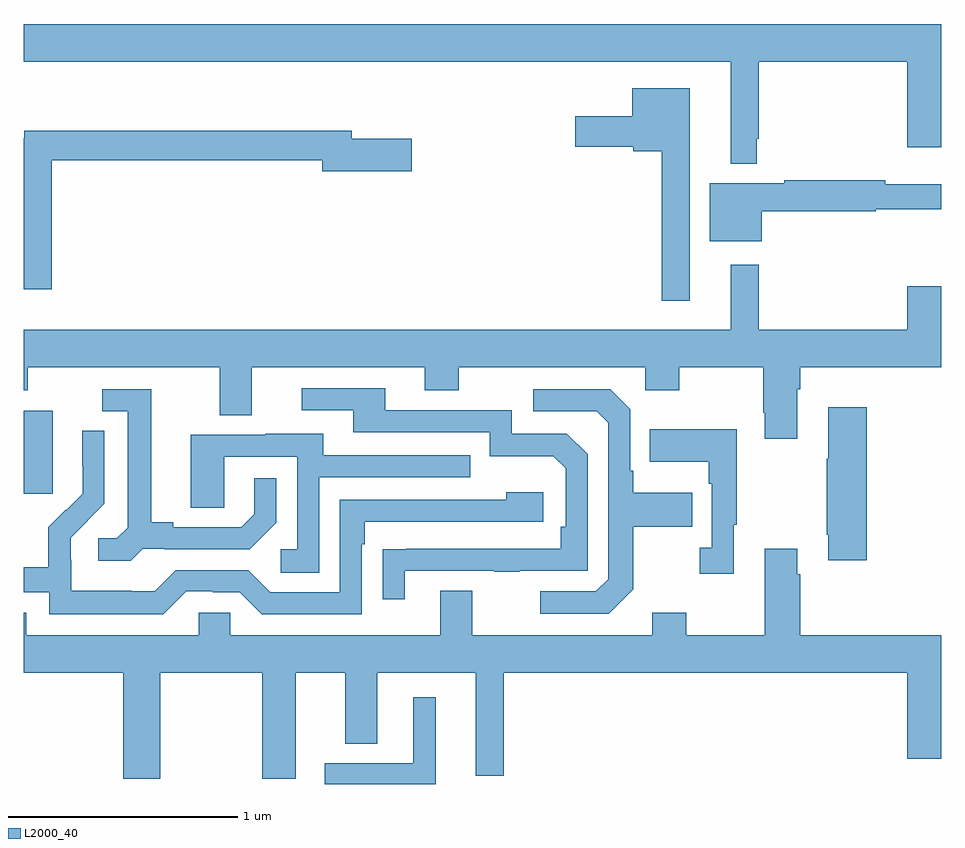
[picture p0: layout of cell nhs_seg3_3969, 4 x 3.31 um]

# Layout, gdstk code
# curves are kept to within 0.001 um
import gdstk
lib = gdstk.Library(unit=1e-6, precision=1e-09)
def R(c, l, rs):  # rectangles x0, y0, x1, y1
    for r in rs: c.add(gdstk.rectangle(r[:2], r[2:], *l))
def P(c, l, *ps):  # polygons
    for p in ps: c.add(gdstk.Polygon(p, *l))
L2000_40 = (2000, 40)

nhs_seg3_3969 = lib.new_cell('nhs_seg3_3969')
R(nhs_seg3_3969, L2000_40, [(317,733.665,317.128,734.026)])
P(nhs_seg3_3969, L2000_40, [(317,735.548),(320.081,735.548),(320.081,735.104),(320.196,735.104),(320.196,735.211),(320.203,735.211),(320.203,735.548),(320.852,735.548),(320.852,735.174),(321,735.174),(321,735.712),(317,735.712)],
  [(319.903,735.433),(319.652,735.433),(319.652,735.31),(319.404,735.31),(319.404,735.176),(319.656,735.176),(319.656,735.158),(319.782,735.158),(319.782,734.505),(319.903,734.505)],
  [(317.123,735.118),(318.302,735.118),(318.302,735.071),(318.691,735.071),(318.691,735.213),(318.43,735.213),(318.43,735.247),(317.004,735.247),(317.004,735.214),(317,735.214),(317,734.556),(317.123,734.556)],
  [(320.218,734.896),(320.714,734.896),(320.714,734.904),(321,734.904),(321,735.013),(320.756,735.013),(320.756,735.032),(320.314,735.032),(320.314,735.019),(319.991,735.019),(319.991,734.765),(320.218,734.765)],
  [(320.371,734.12),(320.384,734.12),(320.384,734.216),(321,734.216),(321,734.569),(320.852,734.569),(320.852,734.38),(320.203,734.38),(320.203,734.662),(320.081,734.662),(320.081,734.38),(317,734.38),(317,734.117),(317.019,734.117),(317.019,734.216),(317.855,734.216),(317.855,734.008),(317.995,734.008),(317.995,734.216),(318.749,734.216),(318.749,734.117),(318.897,734.117),(318.897,734.216),(319.71,734.216),(319.71,734.117),(319.857,734.117),(319.857,734.216),(320.224,734.216),(320.224,734.017),(320.231,734.017),(320.231,733.905),(320.371,733.905)],
  [(318.661,733.329),(319.051,733.329),(319.051,733.324),(319.163,733.324),(319.163,733.329),(319.458,733.329),(319.458,733.836),(319.368,733.926),(319.128,733.926),(319.128,734.028),(318.577,734.028),(318.577,734.124),(318.213,734.124),(318.213,734.028),(318.437,734.028),(318.437,733.932),(319.032,733.932),(319.032,733.829),(319.309,733.829),(319.362,733.776),(319.362,733.522),(319.342,733.522),(319.342,733.425),(318.565,733.424),(318.565,733.206),(318.661,733.206)],
  [(319.657,733.249),(319.657,733.522),(319.913,733.522),(319.913,733.669),(319.657,733.669),(319.657,733.765),(319.644,733.765),(319.644,734.034),(319.557,734.121),(319.221,734.121),(319.221,734.025),(319.497,734.025),(319.548,733.974),(319.548,733.293),(319.494,733.239),(319.251,733.239),(319.251,733.143),(319.551,733.143)],
  [(317.52,733.425),(317.614,733.425),(317.614,733.422),(317.986,733.422),(318.102,733.538),(318.102,733.732),(318.005,733.732),(318.005,733.575),(317.948,733.518),(317.653,733.518),(317.653,733.541),(317.557,733.541),(317.557,734.121),(317.343,734.121),(317.343,734.025),(317.453,734.025),(317.453,733.517),(317.406,733.47),(317.325,733.47),(317.325,733.373),(317.468,733.373)],
  [(320.675,734.041),(320.507,734.041),(320.507,733.817),(320.5,733.817),(320.5,733.486),(320.507,733.486),(320.507,733.374),(320.675,733.374)],
  [(320.095,733.529),(320.107,733.529),(320.107,733.945),(319.729,733.945),(319.729,733.805),(319.986,733.805),(319.986,733.709),(319.998,733.709),(319.998,733.43),(319.947,733.43),(319.947,733.317),(320.095,733.317)],
  [(317.709,733.239),(317.825,733.239),(317.825,733.236),(317.943,733.236),(318.039,733.14),(318.474,733.14),(318.474,733.445),(318.487,733.445),(318.487,733.542),(319.264,733.542),(319.264,733.672),(319.103,733.672),(319.103,733.638),(318.378,733.638),(318.378,733.236),(318.075,733.236),(317.979,733.332),(317.664,733.332),(317.571,733.239),(317.471,733.239),(317.471,733.243),(317.208,733.243),(317.208,733.377),(317.206,733.377),(317.206,733.474),(317.352,733.622),(317.352,733.94),(317.256,733.94),(317.256,733.786),(317.258,733.786),(317.258,733.664),(317.187,733.593),(317.184,733.596),(317.107,733.519),(317.107,733.345),(317,733.345),(317,733.236),(317.112,733.236),(317.112,733.139),(317.609,733.139)],
  [(318.288,733.737),(318.947,733.737),(318.947,733.833),(318.307,733.833),(318.307,733.927),(318.053,733.927),(318.053,733.923),(317.729,733.923),(317.729,733.603),(317.874,733.603),(317.874,733.827),(318.192,733.827),(318.192,733.422),(318.12,733.422),(318.12,733.321),(318.288,733.321)],
  [(317.595,732.884),(318.04,732.884),(318.04,732.423),(318.187,732.423),(318.187,732.884),(318.401,732.884),(318.401,732.575),(318.541,732.575),(318.541,732.884),(318.971,732.884),(318.971,732.435),(319.093,732.435),(319.093,732.884),(320.852,732.884),(320.852,732.51),(321,732.51),(321,733.048),(320.384,733.048),(320.384,733.313),(320.371,733.313),(320.371,733.426),(320.231,733.426),(320.231,733.048),(319.887,733.048),(319.887,733.147),(319.739,733.147),(319.739,733.048),(318.955,733.048),(318.955,733.243),(318.815,733.243),(318.815,733.048),(317.901,733.048),(317.901,733.146),(317.763,733.146),(317.763,733.048),(317.011,733.048),(317.011,733.147),(317,733.147),(317,732.884),(317.435,732.884),(317.435,732.423),(317.595,732.423)],
  [(318.796,732.778),(318.698,732.778),(318.698,732.49),(318.313,732.49),(318.313,732.4),(318.796,732.4)])

lib.write_gds('nhs_seg3_3969.gds')
